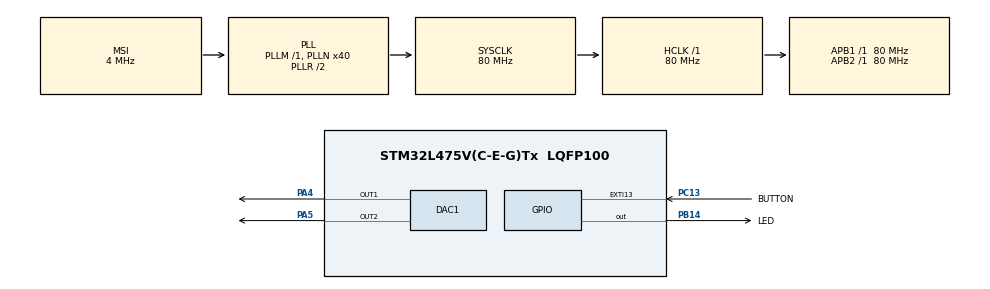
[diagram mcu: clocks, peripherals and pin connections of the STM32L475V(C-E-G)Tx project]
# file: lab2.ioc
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DAC1.DAC_Channel-DAC_OUT2=DAC_CHANNEL_2
Mcu.Family=STM32L4
Mcu.Name=STM32L475V(C-E-G)Tx
Mcu.Package=LQFP100
NVIC.PriorityGroup=NVIC_PRIORITYGROUP_4
PA13\ (JTMS-SWDIO).Signal=SYS_JTMS-SWDIO
PA4.Signal=COMP_DAC11_group
PA5.Signal=COMP_DAC12_group
PB14.GPIO_Label=LED
PB14.Signal=GPIO_Output
PB3\ (JTDO-TRACESWO).Signal=SYS_JTDO-SWO
PC13.GPIO_Label=BUTTON
PC13.Signal=GPXTI13
ProjectManager.HeapSize=0x200
ProjectManager.StackSize=0x400
ProjectManager.TargetToolchain=STM32CubeIDE
RCC.ADCFreq_Value=48000000
RCC.AHBFreq_Value=80000000
RCC.APB1Freq_Value=80000000
RCC.APB1TimFreq_Value=80000000
RCC.APB2Freq_Value=80000000
RCC.APB2TimFreq_Value=80000000
RCC.CortexFreq_Value=80000000
RCC.HCLKFreq_Value=80000000
RCC.HSE_VALUE=8000000
RCC.HSI_VALUE=16000000
RCC.MSI_VALUE=4000000
RCC.PLLN=40
RCC.PLLSAI1N=24
RCC.SYSCLKFreq_VALUE=80000000
RCC.SYSCLKSource=RCC_SYSCLKSOURCE_PLLCLK
RCC.USBFreq_Value=48000000
RCC.VCOOutputFreq_Value=160000000
SH.COMP_DAC11_group.0=DAC1_OUT1,DAC_OUT1
SH.COMP_DAC12_group.0=DAC1_OUT2,DAC_OUT2
board=B-L475E-IOT01A1

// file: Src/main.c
/* USER CODE BEGIN Header */
/**
  ******************************************************************************
  * @file           : main.c
  * @brief          : Main program body
  ******************************************************************************
  * @attention
  *
  * <h2><center>&copy; Copyright (c) 2020 STMicroelectronics.
  * All rights reserved.</center></h2>
  *
  * This software component is licensed by ST under BSD 3-Clause license,
  * the "License"; You may not use this file except in compliance with the
  * License. You may obtain a copy of the License at:
  *                        opensource.org/licenses/BSD-3-Clause
  *
  ******************************************************************************
  */
/* USER CODE END Header */
#include "main.h"

/* USER CODE BEGIN Includes */
#define ARM_MATH_CM4
#include "arm_math.h"

#include <math.h>
#include "gpio_led.h"
/* USER CODE END Includes */

DAC_HandleTypeDef hdac1;

void SystemClock_Config(void);
static void MX_GPIO_Init(void);
static void MX_DAC1_Init(void);

int main(void)
{

  /* MCU Configuration--------------------------------------------------------*/

  /* Reset of all peripherals, Initializes the Flash interface and the Systick. */
  HAL_Init();

  /* Configure the system clock */
  SystemClock_Config();

  /* Initialize all configured peripherals */
  MX_GPIO_Init();
  MX_DAC1_Init();
  /* USER CODE BEGIN 2 */
  /* triangle wave value */
  uint8_t triangle = 0;
  /* saw wave value */
  uint8_t saw = 0;
  /* sine wave value */
  uint16_t sine = 0;
  /* triangle wave increment */
  uint8_t triangleIncrement = 32;
  /* triangle wave direction flag, 0 = going down, 1 = going up */
  uint8_t triangleDirection = 1;
  /* max value of the DAC, 12-bit precision */
  uint8_t maxValue = 255;
  /* radian value for the sine function, will be between 0 - 2pi */
  float radian = 0.0;

  HAL_DAC_Start(&hdac1, DAC_CHANNEL_1);
  HAL_DAC_Start(&hdac1, DAC_CHANNEL_2);
  /* USER CODE END 2 */

  /* Infinite loop */
  while (1)
  {

    /* USER CODE BEGIN 3 */
	/* GPIO LED */
	  toggleLED();
	/* SAW WAVE GENERATION */
//	  if (saw > maxValue) {
//		  saw = 0;
//	  }
//	  HAL_DAC_SetValue(&hdac1, DAC_CHANNEL_1, DAC_ALIGN_8B_R, saw);
//	  saw += 16;
	/* TRIANGLE WAVE GENERATION */
	  // wave is below zero, going towards the lowest point
	  if (triangle < 128 && triangleDirection == 0) {
		  // hit lowest point, start going up
		  if (triangle < 0) {
			  triangleDirection = 1;
			  triangleIncrement = 32;
		  }
	  // wave is above zero, going up towards the peak
	  } else if (triangle > 128 && triangleDirection == 1) {
		  if (triangle > maxValue) {
			  triangleDirection = 0;
			  triangleIncrement = -32;
		  }
	  }
	  HAL_DAC_SetValue(&hdac1, DAC_CHANNEL_2, DAC_ALIGN_8B_R, triangle);
	  triangle += triangleIncrement;
	/* SINE WAVE GENERATION */
//	  sine = (128 * arm_sin_f32(radian)) + 128;
//	  HAL_DAC_SetValue(&hdac1, DAC_CHANNEL_1, DAC_ALIGN_8B_R, sine);
//	  radian += (M_PI_4 / 4);
//	  if(radian > (2 * M_PI)) {
//		  radian = 0.0;
//	  }
	  HAL_Delay(2);
  }
  /* USER CODE END 3 */
}

void SystemClock_Config(void)
{
  RCC_OscInitTypeDef RCC_OscInitStruct = {0};
  RCC_ClkInitTypeDef RCC_ClkInitStruct = {0};

  /** Initializes the RCC Oscillators according to the specified parameters
  * in the RCC_OscInitTypeDef structure.
  */
  RCC_OscInitStruct.OscillatorType = RCC_OSCILLATORTYPE_MSI;
  RCC_OscInitStruct.MSIState = RCC_MSI_ON;
  RCC_OscInitStruct.MSICalibrationValue = 0;
  RCC_OscInitStruct.MSIClockRange = RCC_MSIRANGE_6;
  RCC_OscInitStruct.PLL.PLLState = RCC_PLL_ON;
  RCC_OscInitStruct.PLL.PLLSource = RCC_PLLSOURCE_MSI;
  RCC_OscInitStruct.PLL.PLLM = 1;
  RCC_OscInitStruct.PLL.PLLN = 40;
  RCC_OscInitStruct.PLL.PLLP = RCC_PLLP_DIV7;
  RCC_OscInitStruct.PLL.PLLQ = RCC_PLLQ_DIV2;
  RCC_OscInitStruct.PLL.PLLR = RCC_PLLR_DIV2;
  if (HAL_RCC_OscConfig(&RCC_OscInitStruct) != HAL_OK)
  {
    Error_Handler();
  }
  /** Initializes the CPU, AHB and APB buses clocks
  */
  RCC_ClkInitStruct.ClockType = RCC_CLOCKTYPE_HCLK|RCC_CLOCKTYPE_SYSCLK
                              |RCC_CLOCKTYPE_PCLK1|RCC_CLOCKTYPE_PCLK2;
  RCC_ClkInitStruct.SYSCLKSource = RCC_SYSCLKSOURCE_PLLCLK;
  RCC_ClkInitStruct.AHBCLKDivider = RCC_SYSCLK_DIV1;
  RCC_ClkInitStruct.APB1CLKDivider = RCC_HCLK_DIV1;
  RCC_ClkInitStruct.APB2CLKDivider = RCC_HCLK_DIV1;

  if (HAL_RCC_ClockConfig(&RCC_ClkInitStruct, FLASH_LATENCY_4) != HAL_OK)
  {
    Error_Handler();
  }
  /** Configure the main internal regulator output voltage
  */
  if (HAL_PWREx_ControlVoltageScaling(PWR_REGULATOR_VOLTAGE_SCALE1) != HAL_OK)
  {
    Error_Handler();
  }
}

static void MX_DAC1_Init(void)
{

  DAC_ChannelConfTypeDef sConfig = {0};

  /** DAC Initialization
  */
  hdac1.Instance = DAC1;
  if (HAL_DAC_Init(&hdac1) != HAL_OK)
  {
    Error_Handler();
  }
  /** DAC channel OUT1 config
  */
  sConfig.DAC_SampleAndHold = DAC_SAMPLEANDHOLD_DISABLE;
  sConfig.DAC_Trigger = DAC_TRIGGER_NONE;
  sConfig.DAC_OutputBuffer = DAC_OUTPUTBUFFER_ENABLE;
  sConfig.DAC_ConnectOnChipPeripheral = DAC_CHIPCONNECT_DISABLE;
  sConfig.DAC_UserTrimming = DAC_TRIMMING_FACTORY;
  if (HAL_DAC_ConfigChannel(&hdac1, &sConfig, DAC_CHANNEL_1) != HAL_OK)
  {
    Error_Handler();
  }
  /** DAC channel OUT2 config
  */
  sConfig.DAC_ConnectOnChipPeripheral = DAC_CHIPCONNECT_DISABLE;
  if (HAL_DAC_ConfigChannel(&hdac1, &sConfig, DAC_CHANNEL_2) != HAL_OK)
  {
    Error_Handler();
  }

}

static void MX_GPIO_Init(void)
{
  GPIO_InitTypeDef GPIO_InitStruct = {0};

  /* GPIO Ports Clock Enable */
  __HAL_RCC_GPIOC_CLK_ENABLE();
  __HAL_RCC_GPIOA_CLK_ENABLE();
  __HAL_RCC_GPIOB_CLK_ENABLE();

  /*Configure GPIO pin Output Level */
  HAL_GPIO_WritePin(LED_GPIO_Port, LED_Pin, GPIO_PIN_RESET);

  /*Configure GPIO pin : BUTTON_Pin */
  GPIO_InitStruct.Pin = BUTTON_Pin;
  GPIO_InitStruct.Mode = GPIO_MODE_IT_RISING;
  GPIO_InitStruct.Pull = GPIO_NOPULL;
  HAL_GPIO_Init(BUTTON_GPIO_Port, &GPIO_InitStruct);

  /*Configure GPIO pin : LED_Pin */
  GPIO_InitStruct.Pin = LED_Pin;
  GPIO_InitStruct.Mode = GPIO_MODE_OUTPUT_PP;
  GPIO_InitStruct.Pull = GPIO_NOPULL;
  GPIO_InitStruct.Speed = GPIO_SPEED_FREQ_LOW;
  HAL_GPIO_Init(LED_GPIO_Port, &GPIO_InitStruct);

}

void Error_Handler(void)
{
}

/************************ (C) COPYRIGHT STMicroelectronics *****END OF FILE****/
